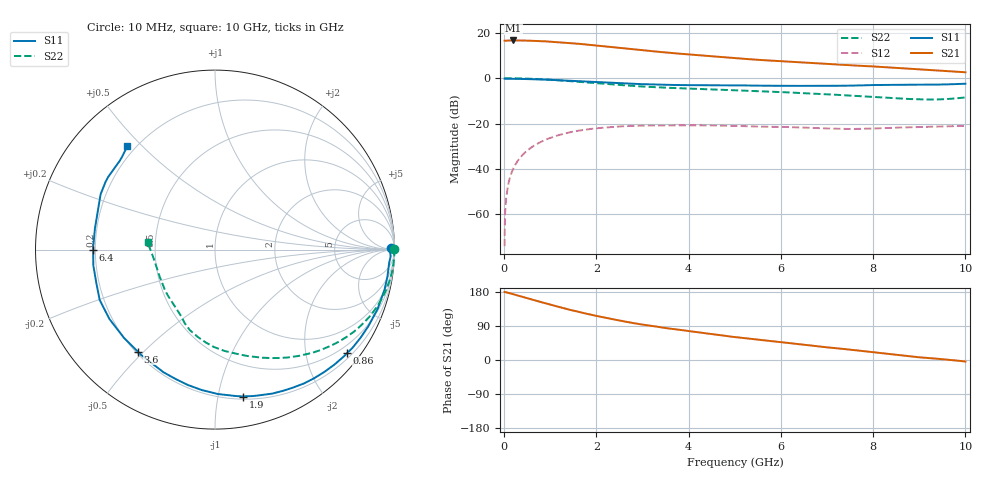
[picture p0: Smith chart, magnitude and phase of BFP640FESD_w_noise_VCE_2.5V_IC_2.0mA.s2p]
! Infineon Technologies  Discrete & RF Semiconductors
! BFP640FESD
! VCE =  2.5 V,  IC =  2.0 mA
! Common Emitter S-Parameters:  Jan 2016
# GHz  S  MA  R  50
!  f  S11  S21  S12  S22
! GHz  MAG  ANG  MAG  ANG  MAG  ANG  MAG  ANG
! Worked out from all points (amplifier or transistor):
!   233 points, 10 MHz to 10 GHz, reference 50 ohm
!   highest |S21| = 16.6 dB at 200 MHz (marker M1)
!   |S21| within 3 dB of that: start of sweep to 2.387 GHz
!   unconditionally stable (mu >= 1): 6.614 GHz to end of sweep
!   at 200 MHz: K = -0.01, MSG = 28.2 dB, |S12| = -39.7 dB
!   at 1.74 GHz: K = 0.14, MSG = 18.8 dB, |S12| = -22.7 dB
!   at 10 GHz: K = 1.46, MAG = 7.8 dB, |S12| = -21.0 dB
!   lowest NFmin = 0.44 dB at 450 MHz
!   S11 on the Smith chart (normalised r, x): 10 MHz: 90, +32; 860 MHz: 0.31, -2.87; 1.9 GHz: 0.22, -1.19; 3.6 GHz: 0.21, -0.48; 6.4 GHz: 0.19, -0.00; 10 GHz: 0.17, +0.45
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0.01  0.9804 0.4  6.756 179.4  0.0002 122.6  0.9963 0.1
0.015  0.9783 -0.2  6.731 179.4  0.0006 96.8  0.9978 -0.3
0.02  0.9763 -0.9  6.706 179.5  0.001 91.8  0.9993 -0.6
0.05  0.9791 -2.2  6.717 178.2  0.0026 90.7  0.9994 -1.3
0.105  0.973 -4.6  6.764 176.8  0.0054 88.1  0.999 -2.7
0.2  0.9723 -8.9  6.794 173.5  0.0103 85.0  0.9966 -5.3
0.5  0.9606 -22.2  6.739 163.1  0.0255 76.9  0.98 -13.1
0.86  0.9355 -38.0  6.513 150.8  0.0425 67.1  0.9437 -22.3
1.2  0.9049 -52.4  6.212 139.6  0.0565 58.4  0.8982 -30.7
1.4  0.8833 -60.5  5.981 133.2  0.0635 53.4  0.8676 -35.4
1.68  0.8541 -71.2  5.657 125.0  0.0717 47.0  0.8251 -41.6
1.9  0.8335 -79.1  5.384 119.0  0.077 42.5  0.7926 -46.3
2.28  0.7961 -91.4  4.927 109.3  0.0837 35.4  0.7402 -53.7
2.76  0.7551 -106.2  4.387 98.3  0.0892 27.6  0.6811 -62.5
3.4  0.7189 -122.5  3.776 86.3  0.0914 19.6  0.6264 -71.7
3.6  0.7126 -127.1  3.619 82.8  0.0917 17.7  0.6136 -74.1
4.5  0.7039 -146.7  3.056 68.2  0.0915 10.8  0.5672 -84.6
5.1  0.6971 -158.0  2.729 59.2  0.0887 7.1  0.5382 -91.5
6.4  0.6784 -179.7  2.253 41.6  0.0827 3.8  0.4749 -106.0
6.8  0.6772 173.4  2.129 36.2  0.0799 4.1  0.4543 -110.2
8.4  0.717 148.3  1.716 15.1  0.081 11.9  0.3657 -136.4
10  0.7565 130.2  1.354 -4.0  0.0893 13.4  0.3777 173.8
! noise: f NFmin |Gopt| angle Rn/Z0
0.45  0.44  0.76  9  0.24
2.4  0.82  0.46  59  0.2
5.5  1.23  0.53  146  0.09
10  2.5  0.6  -127  0.33
